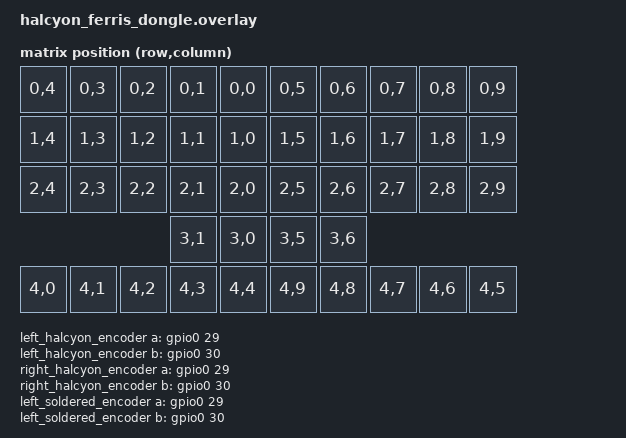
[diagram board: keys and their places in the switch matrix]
/*
 * Copyright (c) 2026 Splitkb.com
 *
 * SPDX-License-Identifier: MIT
 */

#include "halcyon_ferris-layouts.dtsi"
#include <dt-bindings/zmk/matrix_transform.h>

&splitkb_halcyon_ferris {
    transform = <&default_transform>;
};

/ {
    chosen {
        zmk,kscan = &mock_kscan;
        zmk,physical-layout = &splitkb_halcyon_ferris;
    };

    mock_kscan: mock_kscan_0 {
        compatible = "zmk,kscan-mock";
        columns = <0>;
        rows = <0>;
        events = <0>;
    };

    default_transform: keymap_transform_0 {
        compatible = "zmk,matrix-transform";
        columns = <10>;
        rows = <5>;
        map = <
        RC(0,4)  RC(0,3)  RC(0,2)  RC(0,1)  RC(0,0)  RC(0,5) RC(0,6) RC(0,7) RC(0,8) RC(0,9)
        RC(1,4)  RC(1,3)  RC(1,2)  RC(1,1)  RC(1,0)  RC(1,5) RC(1,6) RC(1,7) RC(1,8) RC(1,9)
        RC(2,4)  RC(2,3)  RC(2,2)  RC(2,1)  RC(2,0)  RC(2,5) RC(2,6) RC(2,7) RC(2,8) RC(2,9)
                                   RC(3,1)  RC(3,0)  RC(3,5) RC(3,6)
        RC(4,0)  RC(4,1)  RC(4,2)  RC(4,3)  RC(4,4)  RC(4,9) RC(4,8) RC(4,7) RC(4,6) RC(4,5)
        >;
    };

    left_halcyon_encoder: halcyon_encoder_left {
        compatible = "alps,ec11";
        a-gpios = <&gpio0 29 (GPIO_ACTIVE_HIGH | GPIO_PULL_UP)>; // Dummy pin
        b-gpios = <&gpio0 30 (GPIO_ACTIVE_HIGH | GPIO_PULL_UP)>; // Dummy pin
        steps = <80>;
        status = "disabled";
    };

    right_halcyon_encoder: halcyon_encoder_right {
        compatible = "alps,ec11";
        a-gpios = <&gpio0 29 (GPIO_ACTIVE_HIGH | GPIO_PULL_UP)>; // Dummy pin
        b-gpios = <&gpio0 30 (GPIO_ACTIVE_HIGH | GPIO_PULL_UP)>; // Dummy pin
        steps = <80>;
        status = "disabled";
    };
    
    left_soldered_encoder: soldered_encoder_left {
        compatible = "alps,ec11";
        a-gpios = <&gpio0 29 (GPIO_ACTIVE_HIGH | GPIO_PULL_UP)>; // Dummy pin
        b-gpios = <&gpio0 30 (GPIO_ACTIVE_HIGH | GPIO_PULL_UP)>; // Dummy pin
        steps = <80>;
        status = "disabled";
    };

    right_soldered_encoder: soldered_encoder_right {
        compatible = "alps,ec11";
        a-gpios = <&gpio0 29 (GPIO_ACTIVE_HIGH | GPIO_PULL_UP)>; // Dummy pin
        b-gpios = <&gpio0 30 (GPIO_ACTIVE_HIGH | GPIO_PULL_UP)>; // Dummy pin
        steps = <80>;
        status = "disabled";
    };

    sensors: sensors {
        compatible = "zmk,keymap-sensors";
        sensors = <&left_halcyon_encoder &right_halcyon_encoder &left_soldered_encoder &right_soldered_encoder>;
        triggers-per-rotation = <20>;
    };
};
